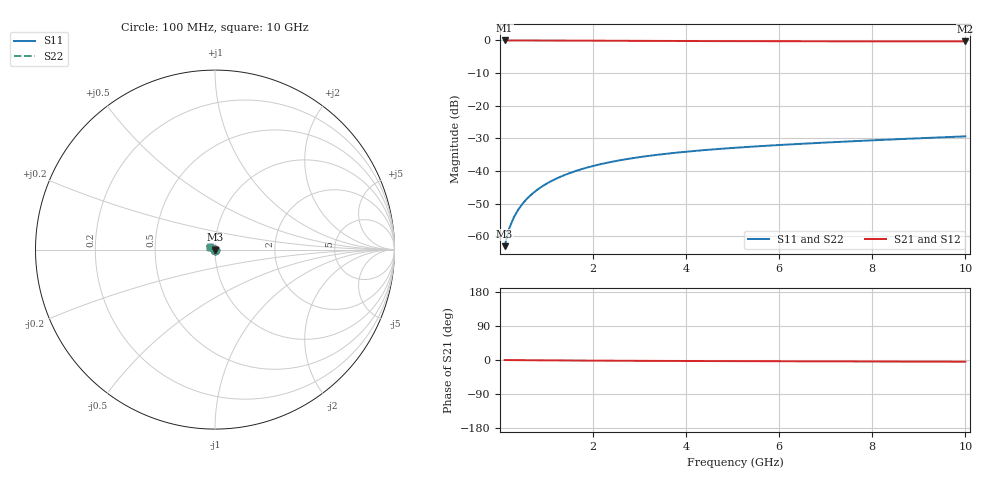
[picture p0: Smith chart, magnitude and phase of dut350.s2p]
! Touchstone file exported from HFSS 2024.1.0
!  File:  C:/UserFiles/LocalFiles/RDL_TSV_Batchsim/temp_TSV1_350_1779620062.aedt
!  Generated:  06:59:44 PM May 24, 2026
!  Design:  TSV1
!  Project:  temp_TSV1_350_1779620062
!  Setup:  Setup1
!  Solution:  Sweep
! Variables:
!  dtsv = 6.8um
!  hbump = 3um
!  htsv = 67.07um
!  lrdl = 252.1521522um
!  p = 40
!  p1 = 49.25um
!  t = 500um
!  trdl = 3um
!  wrdl = 24.89489489um
# GHz S MA R 50.000000
! Terminal data exported
! Port[1] = TSV22_T1
! Port[2] = TSV22_T2
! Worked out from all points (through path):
!   100 points, 100 MHz to 10 GHz, reference 50 ohm
!   highest |S21| = 0.00 dB at 100 MHz (marker M1); lowest = -0.3 dB at 10 GHz (marker M2)
!   lowest |S11| = -63.0 dB at 100 MHz (marker M3), VSWR 1.00, Z = 50 - j0.0661 ohm
!   |S11| at or under -10 dB: start of sweep to end of sweep
!   |S22| runs from -63.0 to -29.4 dB; largest |S21 - S12| = 5.2e-15
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0.1  0.0007083 -68.9  0.9997 -0.1  0.9997 -0.1  0.0007083 -68.9
! Gamma 0 0 0 0
! Port Impedance 50 0 50 0
0.2  0.001331 -82.2  0.9996 -0.2  0.9996 -0.2  0.001331 -82.2
0.3  0.001971 -88.3  0.9995 -0.3  0.9995 -0.3  0.001971 -88.3
0.4  0.002614 -92.5  0.9993 -0.4  0.9993 -0.4  0.002614 -92.5
0.5  0.003256 -95.8  0.9991 -0.5  0.9991 -0.5  0.003256 -95.8
0.6  0.003895 -98.7  0.9988 -0.6  0.9988 -0.6  0.003895 -98.7
0.7  0.00453 -101.3  0.9985 -0.6  0.9985 -0.6  0.00453 -101.3
0.8  0.00516 -103.8  0.9981 -0.7  0.9981 -0.7  0.00516 -103.8
0.9  0.005782 -106.1  0.9977 -0.8  0.9977 -0.8  0.005782 -106.1
1.1  0.007002 -110.6  0.9968 -1.0  0.9968 -1.0  0.007002 -110.6
1.4  0.008757 -116.8  0.9953 -1.2  0.9953 -1.2  0.008757 -116.8
1.6  0.009871 -120.7  0.9942 -1.4  0.9942 -1.4  0.009871 -120.7
1.8  0.01094 -124.5  0.9931 -1.5  0.9931 -1.5  0.01094 -124.5
2.1  0.01245 -129.9  0.9913 -1.7  0.9913 -1.7  0.01245 -129.9
2.5  0.01429 -136.6  0.9888 -1.9  0.9888 -1.9  0.01429 -136.6
2.9  0.01595 -142.9  0.9864 -2.1  0.9864 -2.1  0.01595 -142.9
3.4  0.01781 -150.1  0.9836 -2.4  0.9836 -2.4  0.01781 -150.1
4.2  0.02038 -160.4  0.9796 -2.7  0.9796 -2.7  0.02038 -160.4
5.1  0.02285 -170.4  0.976 -3.0  0.976 -3.0  0.02285 -170.4
6.7  0.02666 175.2  0.9714 -3.5  0.9714 -3.5  0.02666 175.2
8.4  0.03043 163.1  0.9681 -4.0  0.9681 -4.0  0.03043 163.1
10  0.034 154.0  0.9659 -4.6  0.9659 -4.6  0.034 154.0
